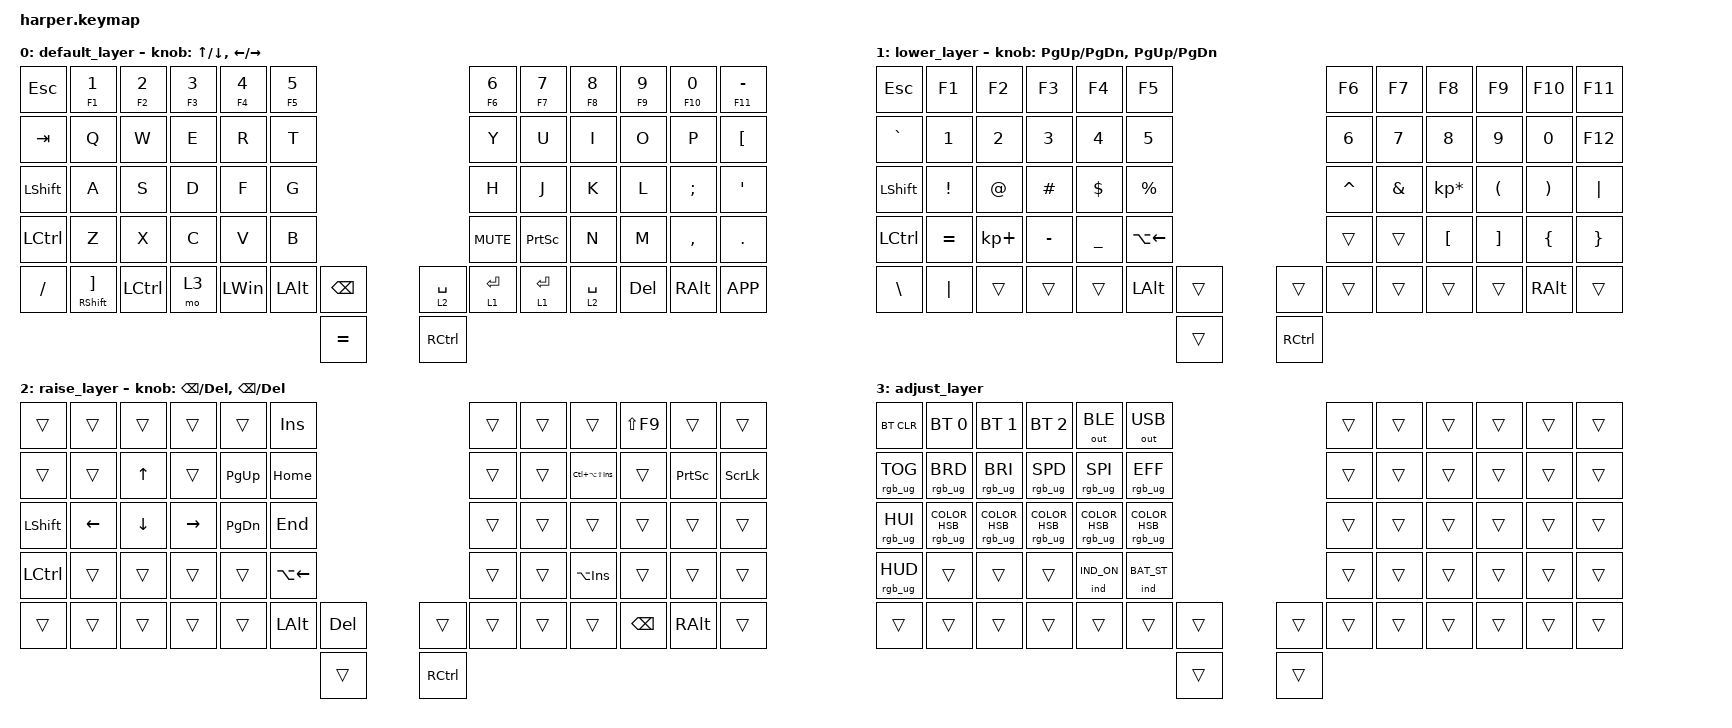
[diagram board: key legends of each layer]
#undef ZMK_BEHAVIORS_KEEP_ALL

#define ZMK_BEHAVIORS_KEEP_IND
#define ZMK_BEHAVIORS_KEEP_BT
#define ZMK_BEHAVIORS_KEEP_GRESC
#define ZMK_BEHAVIORS_KEEP_SYS_RESET
#define ZMK_BEHAVIORS_KEEP_BOOTLOADER
#define ZMK_BEHAVIORS_KEEP_CAPS_WORD
#define ZMK_BEHAVIORS_KEEP_KEY_REPEAT
#define ZMK_BEHAVIORS_KEEP_KT
#define ZMK_BEHAVIORS_KEEP_LT
#define ZMK_BEHAVIORS_KEEP_MT
#define ZMK_BEHAVIORS_KEEP_SK
#define ZMK_BEHAVIORS_KEEP_STICKY_LAYER
#define ZMK_BEHAVIORS_KEEP_TO
#define ZMK_BEHAVIORS_KEEP_TOG
#define ZMK_BEHAVIORS_KEEP_TRANS

#include <behaviors/indicators.dtsi>
#include <dt-bindings/zmk/indicators.h>
#include <behaviors.dtsi>
#include <dt-bindings/zmk/bt.h>
#include <dt-bindings/zmk/keys.h>
#include <dt-bindings/zmk/outputs.h>
#include <dt-bindings/zmk/rgb.h>

#define DEF 0
#define LWR 1
#define RSE 2
#define ADJ 3

&lt { quick_tap_ms = <200>; };

&mt { quick_tap_ms = <200>; };

/ {
    combos {
        compatible = "zmk,combos";

        esc-grave {
            bindings = <&kp GRAVE>;
            key-positions = <0 12>;
            layers = <0>;
        };

        esc-grave-2 {
            bindings = <&kp GRAVE>;
            key-positions = <0 13>;
            layers = <0>;
        };

        ctrl_to_shift {
            bindings = <&win_r>;
            key-positions = <50 36>;
            layers = <0>;
        };

        equal {
            bindings = <&kp EQUAL>;
            key-positions = <11 22>;
        };

        w1 {
            bindings = <&kp EXCL>;
            key-positions = <1 14>;
        };

        e2 {
            bindings = <&kp AT>;
            key-positions = <2 15>;
        };

        r3 {
            bindings = <&kp HASH>;
            key-positions = <3 16>;
        };

        t4 {
            bindings = <&kp DLLR>;
            key-positions = <4 17>;
        };

        t5 {
            bindings = <&kp PRCNT>;
            key-positions = <17 5>;
        };

        y6 {
            bindings = <&kp CARET>;
            key-positions = <18 6>;
        };

        y7 {
            bindings = <&kp AMPS>;
            key-positions = <18 7>;
        };

        u8 {
            bindings = <&kp STAR>;
            key-positions = <8 19>;
        };

        i9 {
            bindings = <&kp LPAR>;
            key-positions = <9 20>;
        };

        o0 {
            bindings = <&kp RPAR>;
            key-positions = <10 21>;
        };

        p- {
            bindings = <&kp MINUS>;
            key-positions = <11 22>;
        };

        r5 {
            bindings = <&kp PRCNT>;
            key-positions = <5 16>;
        };

        u6 {
            bindings = <&kp CARET>;
            key-positions = <6 19>;
        };
    };

    macros {
        win_r: new_macro {
            compatible = "zmk,behavior-macro";
            #binding-cells = <0>;
            bindings = <&kp LG(SPACE)>;
            label = "NEW_MACRO";
        };
    };

    keymap {
        compatible = "zmk,keymap";

        default_layer {
            bindings = <
&kp ESC    &mt F1 N1                &mt F2 N2  &mt F3 N3  &mt F4 N4     &mt F5 N5                    &mt F6 N6    &mt F7 N7        &mt F8 N8    &mt F9 N9    &mt F10 N0  &mt F11 MINUS
&kp TAB    &kp Q                    &kp W      &kp E      &kp R         &kp T                        &kp Y        &kp U            &kp I        &kp O        &kp P       &kp LEFT_BRACKET
&kp LSHFT  &kp A                    &kp S      &kp D      &kp F         &kp G                        &kp H        &kp J            &kp K        &kp L        &kp SEMI    &kp SQT
&kp LCTRL  &kp Z                    &kp X      &kp C      &kp V         &kp B                        &kp C_MUTE   &kp PRINTSCREEN  &kp N        &kp M        &kp COMMA   &kp DOT
&kp FSLH   &mt RSHFT RIGHT_BRACKET  &kp LCTRL  &mo 3      &kp LEFT_WIN  &kp LEFT_ALT  &kp BACKSPACE  &lt 2 SPACE  &lt 1 ENTER      &lt 1 ENTER  &lt 2 SPACE  &kp DEL     &kp RIGHT_ALT     &kp K_APP
                                                                                                     &kp EQUAL                                                                             &kp RCTRL
            >;

            sensor-bindings =
                <&inc_dec_kp UP_ARROW DOWN_ARROW>,
                <&inc_dec_kp LEFT RIGHT>;
        };

        lower_layer {
            bindings = <
&kp ESC    &kp F1     &kp F2       &kp F3     &kp F4     &kp F5                &kp F6     &kp F7    &kp F8           &kp F9    &kp F10         &kp F11
&kp GRAVE  &kp N1     &kp N2       &kp N3     &kp N4     &kp N5                &kp N6     &kp N7    &kp N8           &kp N9    &kp N0          &kp F12
&kp LSHFT  &kp EXCL   &kp AT       &kp HASH   &kp DLLR   &kp PRCNT             &kp CARET  &kp AMPS  &kp KP_MULTIPLY  &kp LPAR  &kp RPAR        &kp PIPE
&kp LCTRL  &kp EQUAL  &kp KP_PLUS  &kp MINUS  &kp UNDER  &kp LA(LEFT)          &trans     &trans    &kp LBKT         &kp RBKT  &kp LEFT_BRACE  &kp RIGHT_BRACE
&kp BSLH   &kp PIPE   &trans       &trans     &trans     &kp LEFT_ALT  &trans  &trans     &trans    &trans           &trans    &trans          &kp RIGHT_ALT    &trans
                                                                               &trans                                                                           &kp RCTRL
            >;

            sensor-bindings =
                <&inc_dec_kp PAGE_UP PAGE_DOWN>,
                <&inc_dec_kp PAGE_UP PAGE_DOWN>;
        };

        raise_layer {
            bindings = <
&trans     &trans    &trans    &trans     &trans         &kp INS                &trans  &trans  &trans               &kp LS(F9)  &trans           &trans
&trans     &trans    &kp UP    &trans     &kp PAGE_UP    &kp HOME               &trans  &trans  &kp LC(LA(LS(INS)))  &trans      &kp PRINTSCREEN  &kp SCROLLLOCK
&kp LSHFT  &kp LEFT  &kp DOWN  &kp RIGHT  &kp PAGE_DOWN  &kp END                &trans  &trans  &trans               &trans      &trans           &trans
&kp LCTRL  &trans    &trans    &trans     &trans         &kp LA(LEFT)           &trans  &trans  &kp LA(INS)          &trans      &trans           &trans
&trans     &trans    &trans    &trans     &trans         &kp LEFT_ALT  &kp DEL  &trans  &trans  &trans               &trans      &kp BACKSPACE    &kp RIGHT_ALT   &trans
                                                                                &trans                                                                            &kp RCTRL
            >;

            sensor-bindings =
                <&inc_dec_kp BACKSPACE DEL>,
                <&inc_dec_kp BACKSPACE DEL>;
        };

        adjust_layer {
            bindings = <
&bt BT_CLR       &bt BT_SEL 0                     &bt BT_SEL 1                       &bt BT_SEL 2                      &out OUT_BLE                     &out OUT_USB                              &trans  &trans  &trans  &trans  &trans  &trans
&rgb_ug RGB_TOG  &rgb_ug RGB_BRD                  &rgb_ug RGB_BRI                    &rgb_ug RGB_SPD                   &rgb_ug RGB_SPI                  &rgb_ug RGB_EFF                           &trans  &trans  &trans  &trans  &trans  &trans
&rgb_ug RGB_HUI  &rgb_ug RGB_COLOR_HSB(0,100,50)  &rgb_ug RGB_COLOR_HSB(218,100,50)  &rgb_ug RGB_COLOR_HSB(120,97,50)  &rgb_ug RGB_COLOR_HSB(60,0,100)  &rgb_ug RGB_COLOR_HSB(64,100,52)          &trans  &trans  &trans  &trans  &trans  &trans
&rgb_ug RGB_HUD  &trans                           &trans                             &trans                            &ind IND_ON                      &ind BAT_ST                               &trans  &trans  &trans  &trans  &trans  &trans
&trans           &trans                           &trans                             &trans                            &trans                           &trans                            &trans  &trans  &trans  &trans  &trans  &trans  &trans  &trans
                                                                                                                                                                                                  &trans                                          &trans
            >;
        };
    };
};
